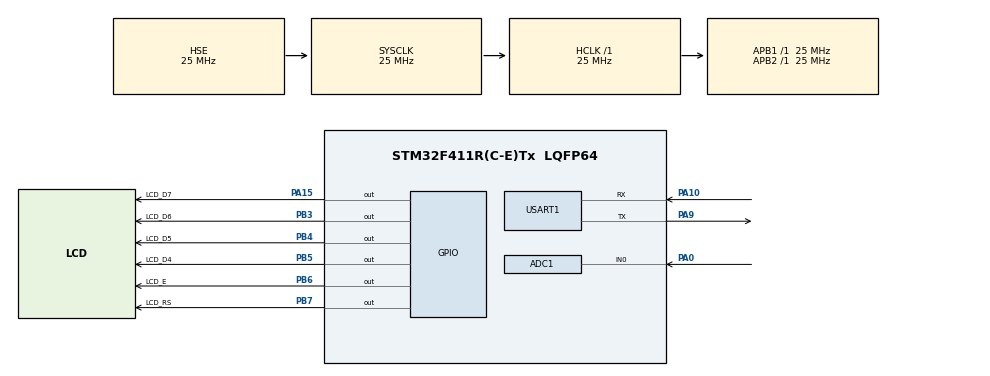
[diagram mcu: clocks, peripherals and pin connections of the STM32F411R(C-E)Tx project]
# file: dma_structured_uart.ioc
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ADC1.Channel-0\#ChannelRegularConversion=ADC_CHANNEL_0
ADC1.NbrOfConversionFlag=1
ADC1.Rank-0\#ChannelRegularConversion=1
ADC1.SamplingTime-0\#ChannelRegularConversion=ADC_SAMPLETIME_3CYCLES
ADC1.master=1
Dma.Request0=USART1_RX
Dma.Request1=USART1_TX
Dma.USART1_RX.0.Direction=DMA_PERIPH_TO_MEMORY
Dma.USART1_RX.0.FIFOMode=DMA_FIFOMODE_DISABLE
Dma.USART1_RX.0.Instance=DMA2_Stream2
Dma.USART1_RX.0.MemDataAlignment=DMA_MDATAALIGN_BYTE
Dma.USART1_RX.0.MemInc=DMA_MINC_ENABLE
Dma.USART1_RX.0.Mode=DMA_NORMAL
Dma.USART1_RX.0.PeriphDataAlignment=DMA_PDATAALIGN_BYTE
Dma.USART1_RX.0.PeriphInc=DMA_PINC_DISABLE
Dma.USART1_RX.0.Priority=DMA_PRIORITY_LOW
Dma.USART1_TX.1.Direction=DMA_MEMORY_TO_PERIPH
Dma.USART1_TX.1.FIFOMode=DMA_FIFOMODE_DISABLE
Dma.USART1_TX.1.Instance=DMA2_Stream7
Dma.USART1_TX.1.MemDataAlignment=DMA_MDATAALIGN_BYTE
Dma.USART1_TX.1.MemInc=DMA_MINC_ENABLE
Dma.USART1_TX.1.Mode=DMA_NORMAL
Dma.USART1_TX.1.PeriphDataAlignment=DMA_PDATAALIGN_BYTE
Dma.USART1_TX.1.PeriphInc=DMA_PINC_DISABLE
Dma.USART1_TX.1.Priority=DMA_PRIORITY_LOW
Mcu.Family=STM32F4
Mcu.Name=STM32F411R(C-E)Tx
Mcu.Package=LQFP64
NVIC.DMA2_Stream2_IRQn=true\:0\:0\:false\:false\:true\:false\:true\:true
NVIC.DMA2_Stream7_IRQn=true\:0\:0\:false\:false\:true\:false\:true\:true
NVIC.PriorityGroup=NVIC_PRIORITYGROUP_4
NVIC.USART1_IRQn=true\:0\:0\:false\:false\:true\:true\:true\:true
PA0-WKUP.Signal=ADCx_IN0
PA10.Mode=Asynchronous
PA10.Signal=USART1_RX
PA13.Mode=Serial_Wire
PA13.Signal=SYS_JTMS-SWDIO
PA14.Mode=Serial_Wire
PA14.Signal=SYS_JTCK-SWCLK
PA15.GPIO_Label=LCD_D7
PA15.GPIO_ModeDefaultOutputPP=GPIO_MODE_OUTPUT_PP
PA15.GPIO_PuPd=GPIO_NOPULL
PA15.GPIO_Speed=GPIO_SPEED_FREQ_VERY_HIGH
PA15.PinState=GPIO_PIN_RESET
PA15.Signal=GPIO_Output
PA9.Mode=Asynchronous
PA9.Signal=USART1_TX
PB3.GPIO_Label=LCD_D6
PB3.GPIO_ModeDefaultOutputPP=GPIO_MODE_OUTPUT_PP
PB3.GPIO_PuPd=GPIO_NOPULL
PB3.GPIO_Speed=GPIO_SPEED_FREQ_VERY_HIGH
PB3.PinState=GPIO_PIN_RESET
PB3.Signal=GPIO_Output
PB4.GPIO_Label=LCD_D5
PB4.GPIO_ModeDefaultOutputPP=GPIO_MODE_OUTPUT_PP
PB4.GPIO_PuPd=GPIO_NOPULL
PB4.GPIO_Speed=GPIO_SPEED_FREQ_VERY_HIGH
PB4.PinState=GPIO_PIN_RESET
PB4.Signal=GPIO_Output
PB5.GPIO_Label=LCD_D4
PB5.GPIO_ModeDefaultOutputPP=GPIO_MODE_OUTPUT_PP
PB5.GPIO_PuPd=GPIO_NOPULL
PB5.GPIO_Speed=GPIO_SPEED_FREQ_VERY_HIGH
PB5.PinState=GPIO_PIN_RESET
PB5.Signal=GPIO_Output
PB6.GPIO_Label=LCD_E
PB6.GPIO_ModeDefaultOutputPP=GPIO_MODE_OUTPUT_PP
PB6.GPIO_PuPd=GPIO_NOPULL
PB6.GPIO_Speed=GPIO_SPEED_FREQ_VERY_HIGH
PB6.PinState=GPIO_PIN_RESET
PB6.Signal=GPIO_Output
PB7.GPIO_Label=LCD_RS
PB7.GPIO_ModeDefaultOutputPP=GPIO_MODE_OUTPUT_PP
PB7.GPIO_PuPd=GPIO_NOPULL
PB7.GPIO_Speed=GPIO_SPEED_FREQ_VERY_HIGH
PB7.PinState=GPIO_PIN_RESET
PB7.Signal=GPIO_Output
PH0\ -\ OSC_IN.Mode=HSE-External-Oscillator
PH0\ -\ OSC_IN.Signal=RCC_OSC_IN
PH1\ -\ OSC_OUT.Mode=HSE-External-Oscillator
PH1\ -\ OSC_OUT.Signal=RCC_OSC_OUT
ProjectManager.HeapSize=0x200
ProjectManager.StackSize=0x400
ProjectManager.TargetToolchain=STM32CubeIDE
RCC.AHBFreq_Value=25000000
RCC.APB1Freq_Value=25000000
RCC.APB1TimFreq_Value=25000000
RCC.APB2Freq_Value=25000000
RCC.APB2TimFreq_Value=25000000
RCC.CortexFreq_Value=25000000
RCC.HCLKFreq_Value=25000000
RCC.HSE_VALUE=25000000
RCC.HSI_VALUE=16000000
RCC.LSE_VALUE=32768
RCC.SYSCLKFreq_VALUE=25000000
RCC.SYSCLKSource=RCC_SYSCLKSOURCE_HSE
RCC.VCOOutputFreq_Value=192000000
SH.ADCx_IN0.0=ADC1_IN0,IN0
USART1.VirtualMode=VM_ASYNC
board=custom

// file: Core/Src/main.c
/* USER CODE BEGIN Header */
/**
  ******************************************************************************
  * @file           : main.c
  * @brief          : Main program body
  ******************************************************************************
  * @attention
  *
  * Copyright (c) 2025 STMicroelectronics.
  * All rights reserved.
  *
  * This software is licensed under terms that can be found in the LICENSE file
  * in the root directory of this software component.
  * If no LICENSE file comes with this software, it is provided AS-IS.
  *
  ******************************************************************************
  */
/* USER CODE END Header */
#include "main.h"
#include "adc.h"
#include "dma.h"
#include "usart.h"
#include "gpio.h"

/* USER CODE BEGIN Includes */
#include "uart_ex2.h"
#include "lcdDisplay.h"

/* USER CODE END Includes */

/* USER CODE BEGIN PTD */
typedef enum{
	BTN_RIGHT,
	BTN_UP,
	BTN_DOWN,
	BTN_LEFT,
	BTN_SELECT,
	BTN_NONE
} adc_btn_e;
/* USER CODE END PTD */

/* USER CODE BEGIN PD */
#define VREF_P_VOLTAGE		3.3
#define ADC_RESOLUTION		4095.0

#define BOARD_TRANSMITER	0
#define BOARD_RECEIVER		1
/* USER CODE END PD */

/* USER CODE BEGIN PV */
lcd_t Lcd;
uart_control_t uControl;
uint8_t uFlag;

char adc_btn_str[6][10] = {
		"RIGHT",
		"UP",
		"DOWN",
		"LEFT",
		"SELECT",

		"---"
};

float adc_btn_values[6] = {
		0.55,
		0.11,
		0.3,
		0.009,
		1.14,
		3.3
};

void _lcd_init(){
	Lcd.columns = 20;
	Lcd.rows = 4;
	Lcd.gpios[LCD_RS].GPIO = (uint32_t)LCD_RS_GPIO_Port;
	Lcd.gpios[LCD_RS].pin = LCD_RS_Pin;
	Lcd.gpios[LCD_E].GPIO = (uint32_t)LCD_E_GPIO_Port;
	Lcd.gpios[LCD_E].pin = LCD_E_Pin;
	Lcd.gpios[LCD_D4].GPIO = (uint32_t)LCD_D4_GPIO_Port;
	Lcd.gpios[LCD_D4].pin = LCD_D4_Pin;
	Lcd.gpios[LCD_D5].GPIO = (uint32_t)LCD_D5_GPIO_Port;
	Lcd.gpios[LCD_D5].pin = LCD_D5_Pin;
	Lcd.gpios[LCD_D6].GPIO = (uint32_t)LCD_D6_GPIO_Port;
	Lcd.gpios[LCD_D6].pin = LCD_D6_Pin;
	Lcd.gpios[LCD_D7].GPIO = (uint32_t)LCD_D7_GPIO_Port;
	Lcd.gpios[LCD_D7].pin = LCD_D7_Pin;

	lcd_init(&Lcd);

	lcd_send_string_pos(&Lcd, "Stm32 Essentials", 1, 0);
	lcd_send_string_pos(&Lcd, "Leitura", 1, 0);
}

void SystemClock_Config(void);

/* USER CODE BEGIN 0 */
void HAL_UART_TxCpltCallback(UART_HandleTypeDef * huart){
	uart_tx_event(&uControl);
}
void HAL_UART_RxCpltCallback(UART_HandleTypeDef * huart){
	uart_rx_event(&uControl);
}

void uart_received_callback(uart_control_t *control, uint8_t *data, uint8_t len){
	uFlag = 0;
}

adc_btn_e _get_adc_btn(float voltage){
	float _range = 0.05;
	float voltUp, voltDown;
	adc_btn_e btnCheck;

	btnCheck = BTN_RIGHT;
	while(btnCheck < BTN_NONE){
		voltUp = adc_btn_values[btnCheck] + _range;
		voltDown = adc_btn_values[btnCheck] - _range;
		if(voltage >= voltDown && voltage <= voltUp){
			return (adc_btn_e)btnCheck;
		}
		btnCheck++;
	}
	return BTN_NONE;
}

uint16_t _calc_adc_avg(uint16_t *adcRaw, uint32_t n){
	uint32_t sum, i;
	i = 0;
	sum = 0;
	while(i < n){
		sum += adcRaw[i];
		i++;
	}
	sum /= n;

	return (uint16_t)sum;
}
/* USER CODE END 0 */

int main(void)
{

  /* USER CODE BEGIN 1 */
	float voltage;
	char text[21];
	uint16_t adcVal;
	uint8_t send[2];
	adc_btn_e Btn, BtnBefore;

	uint32_t sum, i;
  /* USER CODE END 1 */

  /* MCU Configuration--------------------------------------------------------*/

  /* Reset of all peripherals, Initializes the Flash interface and the Systick. */
  HAL_Init();

  /* Configure the system clock */
  SystemClock_Config();

  /* Initialize all configured peripherals */
  MX_GPIO_Init();
  MX_DMA_Init();
  MX_USART1_UART_Init();
  MX_ADC1_Init();
  /* USER CODE BEGIN 2 */
  uart_start(&uControl, &huart1);
  _lcd_init();

  /* USER CODE END 2 */

  /* Infinite loop */
  /* USER CODE BEGIN WHILE */
  BtnBefore = BTN_NONE;
  uFlag = 0;
  sprintf(text, "AD-Key: %s", adc_btn_str[BTN_NONE]);
  lcd_send_string_pos(&Lcd, text, 4, 0);
  while (1)
  {
#if (BOARD_TRANSMITER == 1)
	  sum = 0;
	  for(i=0; i < 20; i++){
		  HAL_ADC_Start(&hadc1);
		  HAL_ADC_PollForConversion(&hadc1, 100);
		  adcVal = HAL_ADC_GetValue(&hadc1);
		  sum += adcVal;
	  }
	  adcVal = sum/20

	  voltage = VREF_P_VOLTAGE*((float)adcVal/ADC_RESOLUTION);
	  Btn = _get_adc_btn(voltage);

	  if(Btn != BtnBefore){
		  BtnBefore = Btn;
		  send[0] = (uint8_t) Btn;
		  uart_send_packet(&uControl, send);
	  }
#elif (BOARD_RECEIVER == 1)
	  if(uFlag == 1){
		  Btn = uControl.u8data[0];
		  sprintf(text, "AD-Key: %s", adc_btn_str[Btn]);
		  lcd_clear_row(&Lcd, 3);
		  lcd_send_string_pos(&Lcd, text, 3, 0);
		  uFlag = 0;
	  }
#endif
	  uart_mac_state(&uControl, HAL_GetTick());
    /* USER CODE END WHILE */

  }
}

void SystemClock_Config(void)
{
  RCC_OscInitTypeDef RCC_OscInitStruct = {0};
  RCC_ClkInitTypeDef RCC_ClkInitStruct = {0};

  /** Configure the main internal regulator output voltage
  */
  __HAL_RCC_PWR_CLK_ENABLE();
  __HAL_PWR_VOLTAGESCALING_CONFIG(PWR_REGULATOR_VOLTAGE_SCALE1);

  /** Initializes the RCC Oscillators according to the specified parameters
  * in the RCC_OscInitTypeDef structure.
  */
  RCC_OscInitStruct.OscillatorType = RCC_OSCILLATORTYPE_HSE;
  RCC_OscInitStruct.HSEState = RCC_HSE_ON;
  RCC_OscInitStruct.PLL.PLLState = RCC_PLL_NONE;
  if (HAL_RCC_OscConfig(&RCC_OscInitStruct) != HAL_OK)
  {
    Error_Handler();
  }

  /** Initializes the CPU, AHB and APB buses clocks
  */
  RCC_ClkInitStruct.ClockType = RCC_CLOCKTYPE_HCLK|RCC_CLOCKTYPE_SYSCLK
                              |RCC_CLOCKTYPE_PCLK1|RCC_CLOCKTYPE_PCLK2;
  RCC_ClkInitStruct.SYSCLKSource = RCC_SYSCLKSOURCE_HSE;
  RCC_ClkInitStruct.AHBCLKDivider = RCC_SYSCLK_DIV1;
  RCC_ClkInitStruct.APB1CLKDivider = RCC_HCLK_DIV1;
  RCC_ClkInitStruct.APB2CLKDivider = RCC_HCLK_DIV1;

  if (HAL_RCC_ClockConfig(&RCC_ClkInitStruct, FLASH_LATENCY_0) != HAL_OK)
  {
    Error_Handler();
  }
}

void Error_Handler(void)
{
  __disable_irq();
  while (1)
  {
  }
}
